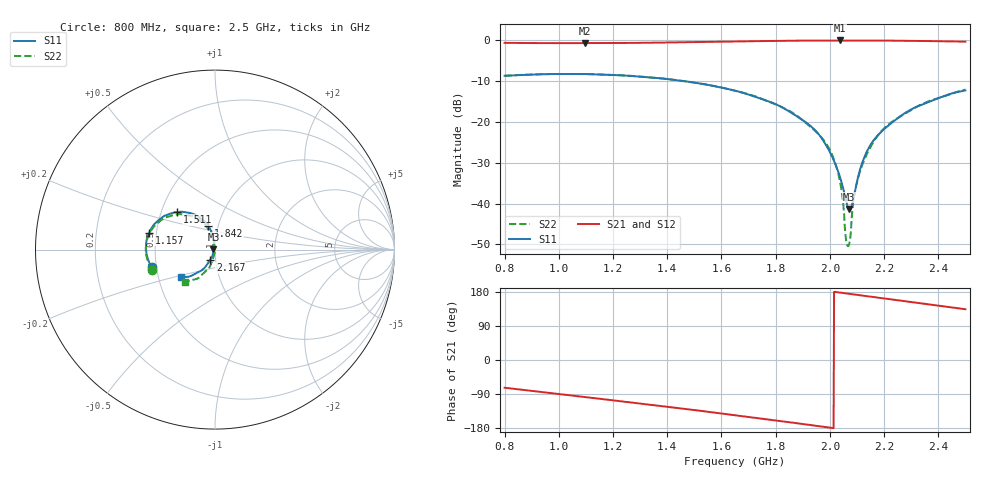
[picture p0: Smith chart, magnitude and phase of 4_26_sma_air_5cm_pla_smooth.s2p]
!Keysight Technologies N9950B: A.12.38
!Date: Wednesday, 26 April 2023 19:44:13
!Timezone: (UTC-06:00) Central Time (US & Canada)
!Model: N9950B
!Serial: MY61131330
!GPS Latitude:
!GPS Longitude:
!GPS TimeStamp: 0001-01-01 00:00:00Z
!GPS Seconds Since Last Read: 0
!CHECKSUM:1334335433
!Correction: S11(ON U)S21(ON U)S12(ON U)S22(ON U)
!S2P File: Measurements:S11,S21,S12,S22:
# Hz S DB R 50
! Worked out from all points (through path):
!   1001 points, 800 MHz to 2.5 GHz, reference 50 ohm
!   highest |S21| = -0.08 dB at 2.038 GHz (marker M1); lowest = -0.7 dB at 1.097 GHz (marker M2)
!   group delay of S21, straight-line fit = 251 ps
!   lowest |S11| = -41.4 dB at 2.072 GHz (marker M3), VSWR 1.02, Z = 49.2 + j0.0975 ohm
!   |S11| at or under -10 dB: 1.455 GHz to end of sweep
!   |S22| runs from -50.4 to -8.3 dB; largest |S21 - S12| = 0.002
!   S11 on the Smith chart (normalised r, x): 800 MHz: 0.47, -0.11; 1.157 GHz: 0.46, +0.10; 1.511 GHz: 0.60, +0.28; 1.842 GHz: 0.90, +0.24; 2.167 GHz: 0.94, -0.11; 2.5 GHz: 0.65, -0.21
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8e8  -8.73 -164.6  -0.67 -73.3  -0.68 -73.2  -8.72 -162.2
1.0839e9  -8.30 171.7  -0.75 -96.8  -0.75 -96.8  -8.30 174.9
1.0975e9  -8.31 170.4  -0.75 -97.9  -0.75 -97.9  -8.31 173.7
1.157e9  -8.44 165.6  -0.72 -102.8  -0.73 -102.8  -8.40 169.1
1.3678e9  -9.29 147.8  -0.61 -120.6  -0.62 -120.6  -9.30 151.5
1.5106e9  -10.51 135.4  -0.47 -133.0  -0.48 -133.0  -10.51 139.6
1.65e9  -12.37 123.1  -0.33 -145.5  -0.34 -145.5  -12.39 127.5
1.8421e9  -17.15 105.5  -0.16 -163.4  -0.17 -163.4  -17.00 110.4
1.9339e9  -21.32 99.1  -0.11 -172.1  -0.11 -172.2  -21.53 101.4
1.9985e9  -27.23 96.0  -0.09 -178.4  -0.10 -178.4  -26.68 98.6
2.0206e9  -30.42 100.7  -0.09 179.5  -0.09 179.5  -30.28 99.6
2.0376e9  -33.58 108.2  -0.08 177.9  -0.09 177.8  -34.66 100.6
2.0614e9  -39.72 141.1  -0.08 175.5  -0.09 175.5  -49.54 140.7
2.0665e9  -40.87 156.0  -0.08 175.0  -0.09 175.1  -50.44 173.9
2.0716e9  -41.36 173.3  -0.08 174.6  -0.09 174.6  -49.82 -154.1
2.0886e9  -38.27 -135.5  -0.09 172.9  -0.09 172.9  -38.49 -93.6
2.1022e9  -33.98 -118.4  -0.09 171.6  -0.09 171.6  -34.17 -94.9
2.1294e9  -28.31 -113.0  -0.09 169.0  -0.10 169.0  -28.93 -100.0
2.1668e9  -24.07 -115.1  -0.10 165.4  -0.10 165.4  -24.28 -104.4
2.2178e9  -20.82 -117.6  -0.12 160.5  -0.13 160.4  -20.55 -106.1
2.3181e9  -16.37 -125.6  -0.19 150.9  -0.20 150.9  -16.40 -116.7
2.5e9  -12.32 -141.6  -0.36 134.0  -0.37 134.0  -12.11 -132.6
